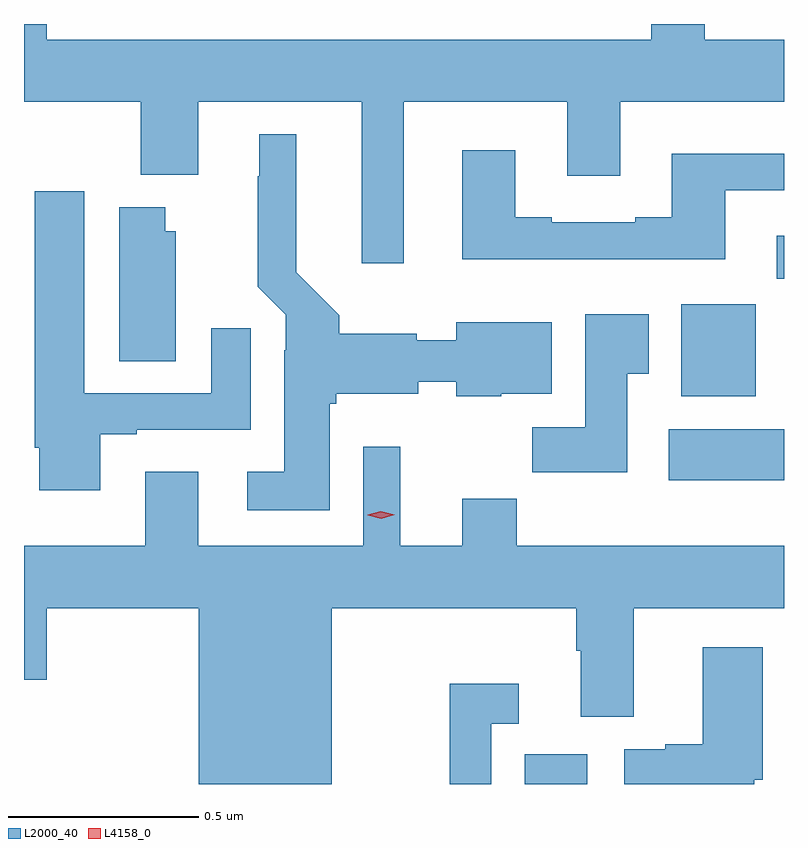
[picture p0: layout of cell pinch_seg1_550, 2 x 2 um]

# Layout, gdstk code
import gdstk
lib = gdstk.Library(unit=1e-6, precision=1e-09)
def R(c, l, rs):  # rectangles x0, y0, x1, y1
    for r in rs: c.add(gdstk.rectangle(r[:2], r[2:], *l))
def P(c, l, *ps):  # polygons
    for p in ps: c.add(gdstk.Polygon(p, *l))
L2000_40 = (2000, 40)
L4158_0 = (4158, 0)

pinch_seg1_550 = lib.new_cell('pinch_seg1_550')
R(pinch_seg1_550, L2000_40, [(1077.518,528.625,1077.682,528.703), (1077.897,529.424,1078.2,529.558), (1077.929,529.646,1078.126,529.888), (1078.181,529.955,1078.2,530.068)])
P(pinch_seg1_550, L2000_40, [(1077.199,530.42),(1077.629,530.42),(1077.629,530.226),(1077.769,530.226),(1077.769,530.42),(1078.2,530.42),(1078.2,530.584),(1077.991,530.584),(1077.991,530.625),(1077.851,530.625),(1077.851,530.584),(1076.26,530.584),(1076.26,530.625),(1076.2,530.625),(1076.2,530.42),(1076.507,530.42),(1076.507,530.228),(1076.659,530.228),(1076.659,530.42),(1077.089,530.42),(1077.089,529.995),(1077.199,529.995)],
  [(1077.004,529.626),(1077.022,529.626),(1077.022,529.652),(1077.238,529.652),(1077.238,529.683),(1077.338,529.683),(1077.338,529.646),(1077.456,529.646),(1077.456,529.652),(1077.589,529.652),(1077.589,529.84),(1077.338,529.84),(1077.338,529.793),(1077.234,529.793),(1077.234,529.81),(1077.03,529.81),(1077.03,529.859),(1076.917,529.972),(1076.917,530.335),(1076.819,530.335),(1076.819,530.225),(1076.815,530.225),(1076.815,529.934),(1076.889,529.86),(1076.889,529.766),(1076.885,529.766),(1076.885,529.447),(1076.787,529.447),(1076.787,529.346),(1077.004,529.346)],
  [(1078.045,530.187),(1078.2,530.187),(1078.2,530.284),(1077.905,530.284),(1077.905,530.116),(1077.809,530.116),(1077.809,530.103),(1077.589,530.103),(1077.589,530.116),(1077.493,530.116),(1077.493,530.293),(1077.353,530.293),(1077.353,530.006),(1078.045,530.006)],
  [(1076.401,529.545),(1076.497,529.545),(1076.497,529.557),(1076.797,529.557),(1076.797,529.825),(1076.693,529.825),(1076.693,529.653),(1076.359,529.653),(1076.359,530.185),(1076.228,530.185),(1076.228,529.51),(1076.24,529.51),(1076.24,529.398),(1076.401,529.398)],
  [(1076.599,530.079),(1076.572,530.079),(1076.572,530.143),(1076.45,530.143),(1076.45,529.738),(1076.599,529.738)],
  [(1077.787,529.705),(1077.844,529.705),(1077.844,529.861),(1077.677,529.861),(1077.677,529.564),(1077.538,529.564),(1077.538,529.446),(1077.787,529.446)],
  [(1077.497,529.376),(1077.353,529.376),(1077.353,529.252),(1077.19,529.252),(1077.19,529.513),(1077.093,529.513),(1077.093,529.252),(1076.659,529.252),(1076.659,529.447),(1076.519,529.447),(1076.519,529.252),(1076.2,529.252),(1076.2,528.9),(1076.26,528.9),(1076.26,529.088),(1076.66,529.088),(1076.66,528.625),(1077.01,528.625),(1077.01,529.088),(1077.653,529.088),(1077.653,528.976),(1077.665,528.976),(1077.665,528.802),(1077.805,528.802),(1077.805,529.088),(1078.2,529.088),(1078.2,529.252),(1077.497,529.252)],
  [(1078.122,528.636),(1078.144,528.636),(1078.144,528.985),(1077.986,528.985),(1077.986,528.73),(1077.887,528.73),(1077.887,528.717),(1077.78,528.717),(1077.78,528.625),(1078.122,528.625)],
  [(1077.429,528.783),(1077.502,528.783),(1077.502,528.889),(1077.321,528.889),(1077.321,528.625),(1077.429,528.625)])
P(pinch_seg1_550, L4158_0, [(1077.14,529.323),(1077.104,529.332),(1077.104,529.333),(1077.104,529.333),(1077.139,529.343),(1077.175,529.334),(1077.175,529.334),(1077.175,529.333)])

lib.write_gds('pinch_seg1_550.gds')
